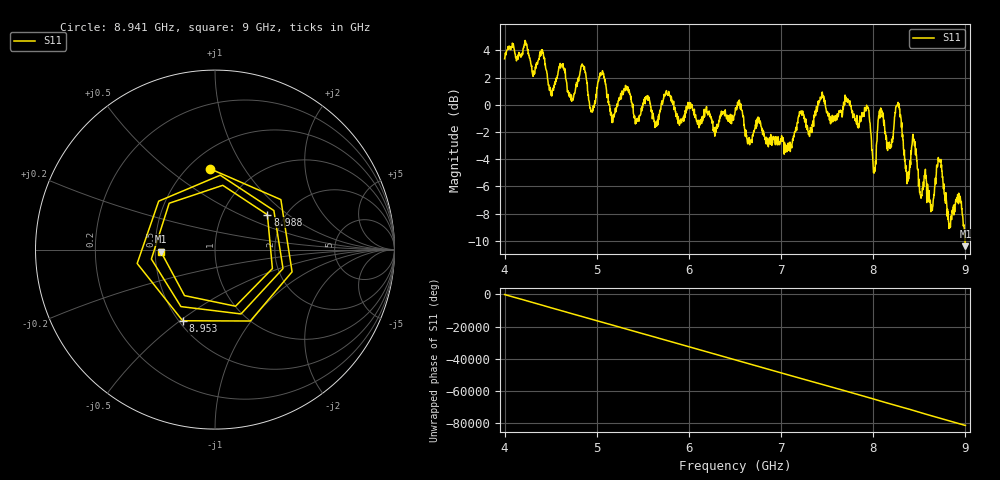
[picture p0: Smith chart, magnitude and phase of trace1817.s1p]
! Created with skrf 1.8.0 (http://scikit-rf.org).
# Hz S RI R 50.0
!freq ReS11 ImS11
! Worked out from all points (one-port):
!   1601 points, 4 GHz to 9 GHz, reference 50 ohm
!   lowest |S11| = -10.4 dB at 9 GHz (marker M1), VSWR 1.87, Z = 26.8 - j0.644 ohm
!   |S11| at or under -10 dB: 8.99604 GHz to end of sweep
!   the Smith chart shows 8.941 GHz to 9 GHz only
!   S11 on the Smith chart (normalised r, x): 8.941 GHz: 0.63, +0.72; 8.953 GHz: 0.52, -0.51; 8.988 GHz: 1.63, +0.72; 9 GHz: 0.54, -0.01
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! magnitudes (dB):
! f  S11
! 4 GHz  3.4
! 4.403 GHz  4.0
! 4.506 GHz  0.7
! 4.625 GHz  3.0
! 4.731 GHz  0.4
! 4.853 GHz  2.9
! 4.947 GHz  -0.4
! 5.05 GHz  2.2
! 5.169 GHz  -0.8
! 5.25 GHz  0.4
! 5.875 GHz  -1.1
! 6.5 GHz  -0.6
! 7.125 GHz  -2.5
! 7.75 GHz  -0.1
! 7.938 GHz  -0.2
! 8.009 GHz  -5.0
! 8.075 GHz  -0.4
! 8.172 GHz  -2.9
! 8.269 GHz  0.2
! 8.375 GHz  -5.6
! 8.441 GHz  -2.5
! 8.625 GHz  -7.9
! 8.712 GHz  -4.1
! 8.828 GHz  -9.1
! 8.941 GHz  -6.9
! 8.953 GHz  -7.2
! 8.988 GHz  -9.1
! 9 GHz  -10.4
